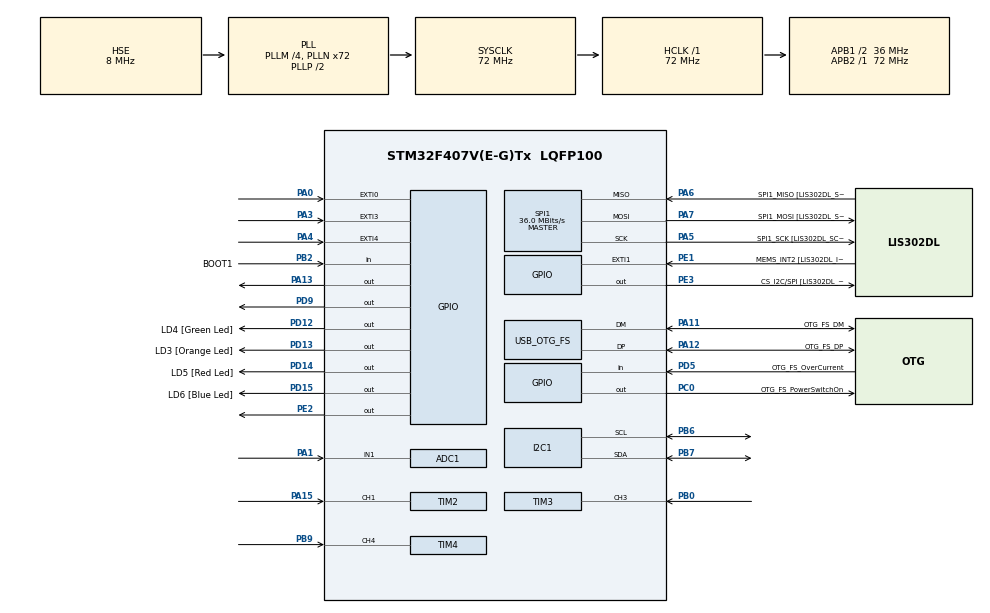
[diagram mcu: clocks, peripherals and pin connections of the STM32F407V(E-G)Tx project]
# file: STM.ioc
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ADC1.Channel-10\#ChannelRegularConversion=ADC_CHANNEL_1
ADC1.ContinuousConvMode=ENABLE
ADC1.NbrOfConversionFlag=1
ADC1.Rank-10\#ChannelRegularConversion=1
ADC1.SamplingTime-10\#ChannelRegularConversion=ADC_SAMPLETIME_3CYCLES
ADC1.master=1
Mcu.Family=STM32F4
Mcu.Name=STM32F407V(E-G)Tx
Mcu.Package=LQFP100
NVIC.EXTI0_IRQn=true\:0\:0\:false\:false\:true\:true\:true
NVIC.EXTI3_IRQn=true\:0\:0\:false\:false\:true\:true\:true
NVIC.EXTI4_IRQn=true\:0\:0\:false\:false\:true\:true\:true
NVIC.OTG_FS_IRQn=true\:0\:0\:false\:false\:true\:true\:true
NVIC.PriorityGroup=NVIC_PRIORITYGROUP_0
NVIC.TIM2_IRQn=true\:0\:0\:false\:false\:true\:true\:true
NVIC.TIM3_IRQn=true\:0\:0\:false\:false\:true\:true\:true
NVIC.TIM4_IRQn=true\:0\:0\:false\:false\:true\:true\:true
PA0-WKUP.GPIO_PuPd=GPIO_PULLDOWN
PA0-WKUP.Signal=GPXTI0
PA1.Signal=ADCx_IN1
PA10.GPIO_Label=OTG_FS_ID
PA10.GPIO_Mode=GPIO_MODE_AF_PP
PA10.GPIO_PuPd=GPIO_NOPULL
PA10.GPIO_Speed=GPIO_SPEED_FREQ_LOW
PA10.Signal=USB_OTG_FS_ID
PA11.GPIO_Label=OTG_FS_DM
PA11.GPIO_Mode=GPIO_MODE_AF_PP
PA11.GPIO_PuPd=GPIO_NOPULL
PA11.GPIO_Speed=GPIO_SPEED_FREQ_LOW
PA11.Mode=Host_Only
PA11.Signal=USB_OTG_FS_DM
PA12.GPIO_Label=OTG_FS_DP
PA12.GPIO_Mode=GPIO_MODE_AF_PP
PA12.GPIO_PuPd=GPIO_NOPULL
PA12.GPIO_Speed=GPIO_SPEED_FREQ_LOW
PA12.Mode=Host_Only
PA12.Signal=USB_OTG_FS_DP
PA13.Signal=GPIO_Output
PA14.GPIO_Label=SWCLK
PA14.Signal=SYS_JTCK-SWCLK
PA15.Signal=S_TIM2_CH1_ETR
PA3.GPIO_PuPd=GPIO_PULLDOWN
PA3.Signal=GPXTI3
PA4.GPIO_PuPd=GPIO_PULLDOWN
PA4.Signal=GPXTI4
PA5.GPIO_Label=SPI1_SCK [LIS302DL_SCL/SPC]
PA5.GPIO_Mode=GPIO_MODE_AF_PP
PA5.GPIO_PuPd=GPIO_NOPULL
PA5.GPIO_Speed=GPIO_SPEED_FREQ_LOW
PA5.Mode=Full_Duplex_Master
PA5.Signal=SPI1_SCK
PA6.GPIO_Label=SPI1_MISO [LIS302DL_SDO]
PA6.GPIO_Mode=GPIO_MODE_AF_PP
PA6.GPIO_PuPd=GPIO_NOPULL
PA6.GPIO_Speed=GPIO_SPEED_FREQ_LOW
PA6.Mode=Full_Duplex_Master
PA6.Signal=SPI1_MISO
PA7.GPIO_Label=SPI1_MOSI [LIS302DL_SDA/SDI/SDO]
PA7.GPIO_Mode=GPIO_MODE_AF_PP
PA7.GPIO_PuPd=GPIO_NOPULL
PA7.GPIO_Speed=GPIO_SPEED_FREQ_LOW
PA7.Mode=Full_Duplex_Master
PA7.Signal=SPI1_MOSI
PA9.Signal=S_TIM1_CH2
PB0.Signal=S_TIM3_CH3
PB10.GPIO_Label=CLK_IN [MP45DT02_CLK]
PB10.GPIO_Mode=GPIO_MODE_AF_PP
PB10.GPIO_PuPd=GPIO_NOPULL
PB10.GPIO_Speed=GPIO_SPEED_FREQ_LOW
PB10.Signal=I2S2_CK
PB15.Signal=TIM1_CH3N
PB2.GPIO_Label=BOOT1
PB2.GPIO_Mode=GPIO_MODE_INPUT
PB2.GPIO_PuPd=GPIO_NOPULL
PB2.Signal=GPIO_Input
PB6.Mode=I2C
PB6.Signal=I2C1_SCL
PB7.Mode=I2C
PB7.Signal=I2C1_SDA
PB9.Signal=S_TIM4_CH4
PC0.GPIO_Label=OTG_FS_PowerSwitchOn
PC0.GPIO_PuPd=GPIO_NOPULL
PC0.GPIO_Speed=GPIO_SPEED_FREQ_LOW
PC0.PinState=GPIO_PIN_SET
PC0.Signal=GPIO_Output
PC10.GPIO_Label=I2S3_SCK [CS43L22_SCLK]
PC10.GPIO_Mode=GPIO_MODE_AF_PP
PC10.GPIO_PuPd=GPIO_NOPULL
PC10.GPIO_Speed=GPIO_SPEED_FREQ_LOW
PC10.Signal=I2S3_CK
PC12.GPIO_Label=I2S3_SD [CS43L22_SDIN]
PC12.GPIO_Mode=GPIO_MODE_AF_PP
PC12.GPIO_PuPd=GPIO_NOPULL
PC12.GPIO_Speed=GPIO_SPEED_FREQ_LOW
PC12.Signal=I2S3_SD
PC14-OSC32_IN.GPIO_Label=PC14-OSC32_IN
PC14-OSC32_IN.Mode=LSE-External-Oscillator
PC14-OSC32_IN.Signal=RCC_OSC32_IN
PC15-OSC32_OUT.GPIO_Label=PC15-OSC32_OUT
PC15-OSC32_OUT.Mode=LSE-External-Oscillator
PC15-OSC32_OUT.Signal=RCC_OSC32_OUT
PC3.GPIO_Label=PDM_OUT [MP45DT02_DOUT]
PC3.GPIO_Mode=GPIO_MODE_AF_PP
PC3.GPIO_PuPd=GPIO_NOPULL
PC3.GPIO_Speed=GPIO_SPEED_FREQ_LOW
PC3.Signal=I2S2_SD
PC7.GPIO_Label=I2S3_MCK [CS43L22_MCLK]
PC7.GPIO_Mode=GPIO_MODE_AF_PP
PC7.GPIO_PuPd=GPIO_NOPULL
PC7.GPIO_Speed=GPIO_SPEED_FREQ_LOW
PC7.Signal=I2S3_MCK
PC9.Signal=S_TIM3_CH4
PD12.GPIO_Label=LD4 [Green Led]
PD12.GPIO_PuPd=GPIO_NOPULL
PD12.GPIO_Speed=GPIO_SPEED_FREQ_LOW
PD12.Signal=GPIO_Output
PD13.GPIO_Label=LD3 [Orange Led]
PD13.GPIO_PuPd=GPIO_NOPULL
PD13.GPIO_Speed=GPIO_SPEED_FREQ_LOW
PD13.Signal=GPIO_Output
PD14.GPIO_Label=LD5 [Red Led]
PD14.GPIO_PuPd=GPIO_NOPULL
PD14.GPIO_Speed=GPIO_SPEED_FREQ_LOW
PD14.Signal=GPIO_Output
PD15.GPIO_Label=LD6 [Blue Led]
PD15.GPIO_PuPd=GPIO_NOPULL
PD15.GPIO_Speed=GPIO_SPEED_FREQ_LOW
PD15.Signal=GPIO_Output
PD5.GPIO_Label=OTG_FS_OverCurrent
PD5.GPIO_Mode=GPIO_MODE_INPUT
PD5.GPIO_PuPd=GPIO_NOPULL
PD5.Signal=GPIO_Input
PD9.Signal=GPIO_Output
PE1.GPIO_Label=MEMS_INT2 [LIS302DL_INT2]
PE1.GPIO_ModeDefaultEXTI=GPIO_MODE_EVT_RISING
PE1.GPIO_PuPd=GPIO_NOPULL
PE1.Signal=GPXTI1
PE2.Signal=GPIO_Output
PE3.GPIO_Label=CS_I2C/SPI [LIS302DL_CS_I2C/SPI]
PE3.GPIO_PuPd=GPIO_NOPULL
PE3.GPIO_Speed=GPIO_SPEED_FREQ_LOW
PE3.Signal=GPIO_Output
PH0-OSC_IN.GPIO_Label=PH0-OSC_IN
PH0-OSC_IN.Mode=HSE-External-Oscillator
PH0-OSC_IN.Signal=RCC_OSC_IN
PH1-OSC_OUT.GPIO_Label=PH1-OSC_OUT
PH1-OSC_OUT.Mode=HSE-External-Oscillator
PH1-OSC_OUT.Signal=RCC_OSC_OUT
ProjectManager.HeapSize=0x200
ProjectManager.StackSize=0x400
ProjectManager.TargetToolchain=STM32CubeIDE
RCC.48MHZClocksFreq_Value=48000000
RCC.AHBFreq_Value=72000000
RCC.APB1CLKDivider=RCC_HCLK_DIV2
RCC.APB1Freq_Value=36000000
RCC.APB1TimFreq_Value=72000000
RCC.APB2Freq_Value=72000000
RCC.APB2TimFreq_Value=72000000
RCC.CortexFreq_Value=72000000
RCC.HCLKFreq_Value=72000000
RCC.HSE_VALUE=8000000
RCC.HSI_VALUE=16000000
RCC.PLLM=4
RCC.PLLN=72
RCC.PLLQ=3
RCC.SYSCLKFreq_VALUE=72000000
RCC.SYSCLKSource=RCC_SYSCLKSOURCE_PLLCLK
RCC.VCOOutputFreq_Value=144000000
SH.ADCx_IN1.0=ADC1_IN1,IN1
SH.S_TIM1_CH2.0=TIM1_CH2
SH.S_TIM2_CH1_ETR.0=TIM2_CH1,Input_Capture1_from_TI1
SH.S_TIM3_CH3.0=TIM3_CH3,Input_Capture3_from_TI3
SH.S_TIM3_CH4.0=TIM3_CH4
SH.S_TIM4_CH4.0=TIM4_CH4,Input_Capture4_from_TI4
SPI1.BaudRatePrescaler=SPI_BAUDRATEPRESCALER_2
SPI1.BaudRatePrescaler-Full_Duplex_Master=SPI_BAUDRATEPRESCALER_2
SPI1.CalculateBaudRate=36.0 MBits/s
SPI1.CalculateBaudRate-Full_Duplex_Master=42.0 MBits/s
SPI1.Direction=SPI_DIRECTION_2LINES
SPI1.Mode=SPI_MODE_MASTER
SPI1.Mode-Full_Duplex_Master=SPI_MODE_MASTER
SPI1.VirtualType=VM_MASTER
TIM2.Channel-Input_Capture1_from_TI1=TIM_CHANNEL_1
TIM2.Period=65535
TIM2.Prescaler=71
TIM3.Channel-Input_Capture3_from_TI3=TIM_CHANNEL_3
TIM3.Period=10000
TIM3.Prescaler=7199
TIM4.Channel-Input_Capture4_from_TI4=TIM_CHANNEL_4
TIM4.Period=10000
TIM4.Prescaler=7199
USB_HOST.BSP.number=1
USB_HOST.USBH_HandleTypeDef-CDC_FS=hUsbHostFS
USB_HOST.VirtualModeFS=Cdc
USB_HOST0.BSP.STBoard=false
USB_HOST0.BSP.api=Unknown
USB_HOST0.BSP.i2caddr=0
USB_HOST0.BSP.i2creg=0
USB_HOST0.BSP.instance=PC0
USB_HOST0.BSP.ip=GPIO
USB_HOST0.BSP.mode=Output
USB_HOST0.BSP.name=Drive_VBUS_FS
USB_HOST0.BSP.solution=PC0
USB_OTG_FS.VirtualMode=Host_Only
USB_OTG_FS.phy_itface=HCD_PHY_EMBEDDED
VP_TIM2_VS_ClockSourceINT.Mode=Internal
VP_TIM3_VS_ClockSourceINT.Mode=Internal
VP_USB_HOST_VS_USB_HOST_CDC_FS.Mode=CDC_FS
board=STM32F407G-DISC1

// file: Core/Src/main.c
/* USER CODE BEGIN Header */
/**
  ******************************************************************************
  * @file           : main.c
  * @brief          : Main program body
  ******************************************************************************
  * @attention
  *
  * <h2><center>&copy; Copyright (c) 2022 STMicroelectronics.
  * All rights reserved.</center></h2>
  *
  * This software component is licensed by ST under Ultimate Liberty license
  * SLA0044, the "License"; You may not use this file except in compliance with
  * the License. You may obtain a copy of the License at:
  *                             www.st.com/SLA0044
  *
  ******************************************************************************
  */
/* USER CODE END Header */
#include "main.h"
#include "usb_host.h"

/* USER CODE BEGIN Includes */

#include "i2c-lcd.h"
#include "T_Sensor.h"
#include "Ultrasound.h"
#include "stdio.h"
#include "stdlib.h"

/* USER CODE END Includes */

ADC_HandleTypeDef hadc1;

I2C_HandleTypeDef hi2c1;

SPI_HandleTypeDef hspi1;

TIM_HandleTypeDef htim2;
TIM_HandleTypeDef htim3;
TIM_HandleTypeDef htim4;

void SystemClock_Config(void);
static void MX_GPIO_Init(void);
static void MX_I2C1_Init(void);
static void MX_SPI1_Init(void);
static void MX_ADC1_Init(void);
static void MX_TIM3_Init(void);
static void MX_TIM4_Init(void);
static void MX_TIM2_Init(void);
void MX_USB_HOST_Process(void);

/* USER CODE BEGIN 0 */

int pState = 1, cState = 3, vaciado = 0, t_vaciado = 10, aux1 = 0;	// Estados y variables auxiliares
volatile int interrupt = 0;

volatile int refresh = 0;		// Refresh de la pantalla y sus datos

uint32_t ctime = 0, ptime = 0;	// Mediciones de tiempo
char pantalla[16];		// Para impresiones por pantalla

uint8_t RHI, RHD, TCI, TCD, SUM;	// Medidas de temperatura y humedad (DHT11)
float Temp = 0, RH = 0;

uint16_t AD_RES = 0, Vamb, DC_Multiplier, Lumen, Lmin=3200, Lmax=3600, Ldisplay;	// Medidas LDR

uint32_t echo1, echo2, period = 0;			// Medidas del ultrasonidos
float dist, Volume, d1, d2, d3, dmed;
int Vs = 0, cd = 1;

// Indicador de interrupcion

void HAL_GPIO_EXTI_Callback(uint16_t GPIO_Pin){
	ctime = HAL_GetTick();
	if (GPIO_Pin==GPIO_PIN_0 ) interrupt = 1;
	else if (GPIO_Pin==GPIO_PIN_3 ) interrupt = 2;
	else if (GPIO_Pin==GPIO_PIN_4 ) interrupt = 3;
}

// Debouncer

int debouncer(volatile int* interrupt, GPIO_TypeDef* GPIO_port, uint16_t GPIO_number){
	static uint8_t button_count=0;
	static int counter=0;

	if (*interrupt != 0){
		if (button_count == 0) {
			counter=HAL_GetTick();
			button_count++;
		}
		if (HAL_GetTick()-counter>=10){
			counter=HAL_GetTick();
			if (HAL_GPIO_ReadPin(GPIO_port, GPIO_number) != 1){
				button_count=1;
			}
			else{
				button_count++;
			}
			if (button_count == 3){ //Periodo antirebotes
				button_count = 0;
				return 1;
			}
		}
	}
	return 0;
}

// Funcion de interrupcion del ultrasonidos

void HAL_TIM_IC_CaptureCallback(TIM_HandleTypeDef *htim)
{

	if (htim->Channel == HAL_TIM_ACTIVE_CHANNEL_1)  // if the interrupt source is channel 1
		{
		if (Vs == 0){ // if the first value is not captured

			echo1 = HAL_TIM_ReadCapturedValue(htim, TIM_CHANNEL_1); // read the first value
			Vs = 1;  // set the first captured as true
			// Now change the polarity to falling edge
			__HAL_TIM_SET_CAPTUREPOLARITY(htim, TIM_CHANNEL_1, TIM_INPUTCHANNELPOLARITY_FALLING);
		}

		else if (Vs == 1){   // if the first is already captured

			echo2 = HAL_TIM_ReadCapturedValue(htim, TIM_CHANNEL_1);  // read second value
			__HAL_TIM_SET_COUNTER(htim, 0);  // reset the counter

			if (echo2 > echo1){
				period = echo2 - echo1;
			}
			else if (echo1 > echo2){
				period = (0xffff - echo1) + echo2;
			}

			Vs = 0; // set it back to false

			// set polarity to rising edge
			__HAL_TIM_SET_CAPTUREPOLARITY(htim, TIM_CHANNEL_1, TIM_INPUTCHANNELPOLARITY_RISING);
		}
	}
}

	// Refresh de la pantalla y callback para vaciado

void HAL_TIM_PeriodElapsedCallback(TIM_HandleTypeDef* htim){
	if (htim == &htim3) refresh = 1;
	if (htim == &htim4){
		vaciado++;
		if (vaciado == t_vaciado){
			HAL_TIM_Base_Stop_IT(&htim4);
			vaciado = 0;
			cState = 0;
		}
	}
}

/* Function Delay ---------------------------------------------------------------*/
/*
void microDelay (uint16_t delay){
  __HAL_TIM_SET_COUNTER(&htim1, 0);
  while (__HAL_TIM_GET_COUNTER(&htim1) < delay);
}
*/

/* USER CODE END 0 */

int main(void)
{

  /* MCU Configuration--------------------------------------------------------*/

  /* Reset of all peripherals, Initializes the Flash interface and the Systick. */
  HAL_Init();

  /* Configure the system clock */
  SystemClock_Config();

  /* Initialize all configured peripherals */
  MX_GPIO_Init();
  MX_I2C1_Init();
  MX_SPI1_Init();
  MX_USB_HOST_Init();
  MX_ADC1_Init();
  MX_TIM2_Init();
  MX_TIM3_Init();
  MX_TIM4_Init();
  /* USER CODE BEGIN 2 */

  // EL microcontrolador resetea el pull a NOPULL cuando se reinicia el proyecto
  // Aquí se fuerza el modo PULLDOWN de los pines de interrupcion, ya que si entran en Z
  // a veces generan conflicto en las variables que modifican
  GPIO_InitTypeDef GPIO_InitStruct = {0};
  GPIO_InitStruct.Pin = GPIO_PIN_0|GPIO_PIN_3|GPIO_PIN_4;
  GPIO_InitStruct.Mode = GPIO_MODE_IT_RISING;
  GPIO_InitStruct.Pull = GPIO_PULLDOWN;
  HAL_GPIO_Init(GPIOA, &GPIO_InitStruct);

  lcd_init();
  lcd_put_cur(0,0);
  lcd_send_string("Test");
  lcd_clear();
  HAL_ADC_Start(&hadc1);
  HAL_TIM_Base_Start_IT(&htim3);
  HAL_ADC_Start(&hadc1);
  HAL_ADC_PollForConversion(&hadc1, 1);

  /* USER CODE END 2 */

  /* Infinite loop */
  /* USER CODE BEGIN WHILE */
  while (1)
  {

	  // Lectura y ajuste del LDR
      HAL_ADC_Start(&hadc1);
      HAL_ADC_PollForConversion(&hadc1, 1);
      Lumen = HAL_ADC_GetValue(&hadc1);
      if (Lumen > Lmax) Lmax = Lumen;
      if (Lumen < Lmin && Lumen > 3000) Lmin = Lumen;
      else if (Lumen < 3000) Lumen = 3050;

	  // Lectura del ultrasonidos

      HAL_GPIO_WritePin(GPIOA, GPIO_PIN_13, 1);
      HAL_Delay(10);
      HAL_GPIO_WritePin(GPIOA, GPIO_PIN_13, 0);

      HAL_TIM_IC_Start_IT(&htim2, TIM_CHANNEL_1);

      dist = period/58;

	  switch (cd){
	  	  case 1:
	  		  d1 = dist;
	  		  cd = 2;
	  		  break;
	  	  case 2:
	  		  d2 = dist;
	  		  cd = 3;
	  		  break;
	  	  case 3:
	  		  d3 = dist;
	  		  cd = 1;
	  		  break;
	  }
	  dmed = (d1 + d2 + d3)/3;
	  if (dmed > 100) cState = 5;
	  Volume = dmed * 3.1415 * 1; //Altura del liquido * pi * radio(1)

	  // Lectura de la temperatura y humedad
/*
	  if(DHT11_Start()){
	        RHI = DHT11_Read(); // Relative humidity integral
	        RHD = DHT11_Read(); // Relative humidity decimal
	        TCI = DHT11_Read(); // Celsius integral
	        TCD = DHT11_Read(); // Celsius decimal
	        SUM = DHT11_Read(); // Check sum
	        if (RHI + RHD + TCI + TCD == SUM){
	          Temp = (float)TCI + (float)(TCD/10.0);
	          RH = (float)RHI + (float)(RHD/10.0);
	        }
	   }
*/

	  // Control de los estados

	  if (interrupt == 1){
		  if(debouncer(&interrupt, GPIOA, GPIO_PIN_0)){
			  if (cState == 0){					// Inicio -> Temp
			  	  		pState = cState;
			  	  		cState = 1;
			  	  		ptime = ctime;
			  	  		interrupt = 0;
		  	  }
		  }
	  }

	  if (interrupt == 2){
		  if(debouncer(&interrupt, GPIOA, GPIO_PIN_3)){
			   if(cState == 1){					// Temp -> Humedad
			  	  	pState = cState;
			  	  	cState = 2;
			  	  	ptime = ctime;
			  	  	interrupt = 0;
			   }
			   else if (cState == 2){			// Humedad -> Volumen
			  	  	pState = cState;
			  	  	cState = 3;
			  	  	ptime = ctime;
			  	  	interrupt = 0;
			   }
			   else if(cState == 3){			// Volumen -> Lumin
			  	  	pState = cState;
			  	  	cState = 4;
			  	  	ptime = ctime;
			  	  	interrupt = 0;
			   }
			   else if(cState == 4 ){			// Lumin -> Temp
			  	  	pState = cState;
			  	  	cState =1;
			  	  	ptime = ctime;
			  	  	interrupt = 0;
			   }
		  }
	  }
	  if (interrupt == 3){
		   if(debouncer(&interrupt, GPIOA, GPIO_PIN_4)){

			  	  if (cState == 5){				// Alerta -> Vaciado
			  	  		pState = cState;
			  	  		cState = 6;
			  	  		ptime = ctime;
  	  					interrupt = 0;
			  	  		HAL_TIM_Base_Start_IT(&htim4);
		  		  	  }
			  	  else if (cState != 6){		// Vaciado -> Inicio
			  		  	pState = cState;
			  		    cState = 5;
			  			ptime = ctime;
			  			interrupt = 0;
		  		  }
		   }
	  }

	  // Salida por pantalla
	  if (HAL_GetTick() - ctime > 500) refresh = 1;

	  if (pState != cState || refresh != 0){
		  if (pState != cState){
			  lcd_clear();
			  pState = cState;
		  }
		  if (cState == 5 || cState == 6) HAL_GPIO_TogglePin(GPIOE, GPIO_PIN_2);

		  refresh = 0;
		  ctime = HAL_GetTick();
		  HAL_GPIO_TogglePin(GPIOD, GPIO_PIN_12);

		  if (cState == 0){
			  HAL_GPIO_WritePin(GPIOE, GPIO_PIN_2, GPIO_PIN_RESET);
			  lcd_put_cur(0,0);
			  lcd_send_string("Planta sin");
			  lcd_put_cur(1,0);
			  lcd_send_string("inicializar");
		  }
		  else if (cState == 1){
			  lcd_put_cur(0,0);
			  lcd_send_string("Temperatura:");
			  lcd_put_cur(1,0);
			  lcd_send_string("            ");
			  lcd_put_cur(1,0);
			  itoa(Temp, pantalla, 10);
			  lcd_send_string(pantalla);
			  lcd_send_string(" C");
		  }
		  else if (cState == 2){
			  lcd_put_cur(0,0);
			  lcd_send_string("Humedad:");
			  lcd_put_cur(1,0);
			  lcd_send_string("            ");
			  lcd_put_cur(1,0);
			  itoa(RH, pantalla, 10);
			  lcd_send_string(pantalla);
			  lcd_send_string(" %");
		  }
		  else if(cState == 3){
			  lcd_put_cur(0,0);
			  lcd_send_string("Volumen:");
			  lcd_put_cur(1,0);
			  lcd_send_string("            ");
			  lcd_put_cur(1,0);
			  itoa(Volume, pantalla, 10);
			  lcd_send_string(pantalla);
			  lcd_send_string(" cm3");
		  }
		  else if(cState == 4){
			  lcd_put_cur(0,0);
			  lcd_send_string("Luminosidad:");
			  lcd_put_cur(1,0);
			  lcd_send_string("            ");
			  lcd_put_cur(1,0);
			  Ldisplay = (((Lumen-Lmin)*20)/(Lmax-Lmin))*5;
			  itoa(Ldisplay, pantalla, 10);
			  lcd_send_string(pantalla);
			  lcd_send_string(" %");

		  }
		  else if (cState == 5){
			  lcd_put_cur(0,0);
			  lcd_send_string("Vaciado");
			  lcd_put_cur(1,0);
			  lcd_send_string("necesario");
		  }
		  else if (cState == 6){
			  lcd_put_cur(0,0);
			  lcd_send_string("Vaciando");
			  lcd_put_cur(1,0);
			  lcd_send_string("tanque");
		  }
	  }

	  // Testing DHT11
	  if (Temp != 0) HAL_GPIO_WritePin(GPIOD, GPIO_PIN_15, GPIO_PIN_SET);
	  if (RH != 0) HAL_GPIO_WritePin(GPIOD, GPIO_PIN_13, GPIO_PIN_SET);

   }// Fin bucle

    /* USER CODE END WHILE */
    MX_USB_HOST_Process();

}

void SystemClock_Config(void)
{
  RCC_OscInitTypeDef RCC_OscInitStruct = {0};
  RCC_ClkInitTypeDef RCC_ClkInitStruct = {0};

  /** Configure the main internal regulator output voltage
  */
  __HAL_RCC_PWR_CLK_ENABLE();
  __HAL_PWR_VOLTAGESCALING_CONFIG(PWR_REGULATOR_VOLTAGE_SCALE1);
  /** Initializes the RCC Oscillators according to the specified parameters
  * in the RCC_OscInitTypeDef structure.
  */
  RCC_OscInitStruct.OscillatorType = RCC_OSCILLATORTYPE_HSE;
  RCC_OscInitStruct.HSEState = RCC_HSE_ON;
  RCC_OscInitStruct.PLL.PLLState = RCC_PLL_ON;
  RCC_OscInitStruct.PLL.PLLSource = RCC_PLLSOURCE_HSE;
  RCC_OscInitStruct.PLL.PLLM = 4;
  RCC_OscInitStruct.PLL.PLLN = 72;
  RCC_OscInitStruct.PLL.PLLP = RCC_PLLP_DIV2;
  RCC_OscInitStruct.PLL.PLLQ = 3;
  if (HAL_RCC_OscConfig(&RCC_OscInitStruct) != HAL_OK)
  {
    Error_Handler();
  }
  /** Initializes the CPU, AHB and APB buses clocks
  */
  RCC_ClkInitStruct.ClockType = RCC_CLOCKTYPE_HCLK|RCC_CLOCKTYPE_SYSCLK
                              |RCC_CLOCKTYPE_PCLK1|RCC_CLOCKTYPE_PCLK2;
  RCC_ClkInitStruct.SYSCLKSource = RCC_SYSCLKSOURCE_PLLCLK;
  RCC_ClkInitStruct.AHBCLKDivider = RCC_SYSCLK_DIV1;
  RCC_ClkInitStruct.APB1CLKDivider = RCC_HCLK_DIV2;
  RCC_ClkInitStruct.APB2CLKDivider = RCC_HCLK_DIV1;

  if (HAL_RCC_ClockConfig(&RCC_ClkInitStruct, FLASH_LATENCY_2) != HAL_OK)
  {
    Error_Handler();
  }
}

static void MX_ADC1_Init(void)
{

  ADC_ChannelConfTypeDef sConfig = {0};

  /** Configure the global features of the ADC (Clock, Resolution, Data Alignment and number of conversion)
  */
  hadc1.Instance = ADC1;
  hadc1.Init.ClockPrescaler = ADC_CLOCK_SYNC_PCLK_DIV2;
  hadc1.Init.Resolution = ADC_RESOLUTION_12B;
  hadc1.Init.ScanConvMode = DISABLE;
  hadc1.Init.ContinuousConvMode = ENABLE;
  hadc1.Init.DiscontinuousConvMode = DISABLE;
  hadc1.Init.ExternalTrigConvEdge = ADC_EXTERNALTRIGCONVEDGE_NONE;
  hadc1.Init.ExternalTrigConv = ADC_SOFTWARE_START;
  hadc1.Init.DataAlign = ADC_DATAALIGN_RIGHT;
  hadc1.Init.NbrOfConversion = 1;
  hadc1.Init.DMAContinuousRequests = DISABLE;
  hadc1.Init.EOCSelection = ADC_EOC_SINGLE_CONV;
  if (HAL_ADC_Init(&hadc1) != HAL_OK)
  {
    Error_Handler();
  }
  /** Configure for the selected ADC regular channel its corresponding rank in the sequencer and its sample time.
  */
  sConfig.Channel = ADC_CHANNEL_1;
  sConfig.Rank = 1;
  sConfig.SamplingTime = ADC_SAMPLETIME_3CYCLES;
  if (HAL_ADC_ConfigChannel(&hadc1, &sConfig) != HAL_OK)
  {
    Error_Handler();
  }

}

static void MX_I2C1_Init(void)
{

  hi2c1.Instance = I2C1;
  hi2c1.Init.ClockSpeed = 100000;
  hi2c1.Init.DutyCycle = I2C_DUTYCYCLE_2;
  hi2c1.Init.OwnAddress1 = 0;
  hi2c1.Init.AddressingMode = I2C_ADDRESSINGMODE_7BIT;
  hi2c1.Init.DualAddressMode = I2C_DUALADDRESS_DISABLE;
  hi2c1.Init.OwnAddress2 = 0;
  hi2c1.Init.GeneralCallMode = I2C_GENERALCALL_DISABLE;
  hi2c1.Init.NoStretchMode = I2C_NOSTRETCH_DISABLE;
  if (HAL_I2C_Init(&hi2c1) != HAL_OK)
  {
    Error_Handler();
  }

}

static void MX_SPI1_Init(void)
{

  /* SPI1 parameter configuration*/
  hspi1.Instance = SPI1;
  hspi1.Init.Mode = SPI_MODE_MASTER;
  hspi1.Init.Direction = SPI_DIRECTION_2LINES;
  hspi1.Init.DataSize = SPI_DATASIZE_8BIT;
  hspi1.Init.CLKPolarity = SPI_POLARITY_LOW;
  hspi1.Init.CLKPhase = SPI_PHASE_1EDGE;
  hspi1.Init.NSS = SPI_NSS_SOFT;
  hspi1.Init.BaudRatePrescaler = SPI_BAUDRATEPRESCALER_2;
  hspi1.Init.FirstBit = SPI_FIRSTBIT_MSB;
  hspi1.Init.TIMode = SPI_TIMODE_DISABLE;
  hspi1.Init.CRCCalculation = SPI_CRCCALCULATION_DISABLE;
  hspi1.Init.CRCPolynomial = 10;
  if (HAL_SPI_Init(&hspi1) != HAL_OK)
  {
    Error_Handler();
  }

}

static void MX_TIM2_Init(void)
{

  TIM_ClockConfigTypeDef sClockSourceConfig = {0};
  TIM_MasterConfigTypeDef sMasterConfig = {0};
  TIM_IC_InitTypeDef sConfigIC = {0};

  htim2.Instance = TIM2;
  htim2.Init.Prescaler = 71;
  htim2.Init.CounterMode = TIM_COUNTERMODE_UP;
  htim2.Init.Period = 65535;
  htim2.Init.ClockDivision = TIM_CLOCKDIVISION_DIV1;
  htim2.Init.AutoReloadPreload = TIM_AUTORELOAD_PRELOAD_DISABLE;
  if (HAL_TIM_Base_Init(&htim2) != HAL_OK)
  {
    Error_Handler();
  }
  sClockSourceConfig.ClockSource = TIM_CLOCKSOURCE_INTERNAL;
  if (HAL_TIM_ConfigClockSource(&htim2, &sClockSourceConfig) != HAL_OK)
  {
    Error_Handler();
  }
  if (HAL_TIM_IC_Init(&htim2) != HAL_OK)
  {
    Error_Handler();
  }
  sMasterConfig.MasterOutputTrigger = TIM_TRGO_RESET;
  sMasterConfig.MasterSlaveMode = TIM_MASTERSLAVEMODE_DISABLE;
  if (HAL_TIMEx_MasterConfigSynchronization(&htim2, &sMasterConfig) != HAL_OK)
  {
    Error_Handler();
  }
  sConfigIC.ICPolarity = TIM_INPUTCHANNELPOLARITY_RISING;
  sConfigIC.ICSelection = TIM_ICSELECTION_DIRECTTI;
  sConfigIC.ICPrescaler = TIM_ICPSC_DIV1;
  sConfigIC.ICFilter = 0;
  if (HAL_TIM_IC_ConfigChannel(&htim2, &sConfigIC, TIM_CHANNEL_1) != HAL_OK)
  {
    Error_Handler();
  }

}

static void MX_TIM3_Init(void)
{

  TIM_ClockConfigTypeDef sClockSourceConfig = {0};
  TIM_MasterConfigTypeDef sMasterConfig = {0};
  TIM_IC_InitTypeDef sConfigIC = {0};

  htim3.Instance = TIM3;
  htim3.Init.Prescaler = 7199;
  htim3.Init.CounterMode = TIM_COUNTERMODE_UP;
  htim3.Init.Period = 10000;
  htim3.Init.ClockDivision = TIM_CLOCKDIVISION_DIV1;
  htim3.Init.AutoReloadPreload = TIM_AUTORELOAD_PRELOAD_DISABLE;
  if (HAL_TIM_Base_Init(&htim3) != HAL_OK)
  {
    Error_Handler();
  }
  sClockSourceConfig.ClockSource = TIM_CLOCKSOURCE_INTERNAL;
  if (HAL_TIM_ConfigClockSource(&htim3, &sClockSourceConfig) != HAL_OK)
  {
    Error_Handler();
  }
  if (HAL_TIM_IC_Init(&htim3) != HAL_OK)
  {
    Error_Handler();
  }
  sMasterConfig.MasterOutputTrigger = TIM_TRGO_RESET;
  sMasterConfig.MasterSlaveMode = TIM_MASTERSLAVEMODE_DISABLE;
  if (HAL_TIMEx_MasterConfigSynchronization(&htim3, &sMasterConfig) != HAL_OK)
  {
    Error_Handler();
  }
  sConfigIC.ICPolarity = TIM_INPUTCHANNELPOLARITY_RISING;
  sConfigIC.ICSelection = TIM_ICSELECTION_DIRECTTI;
  sConfigIC.ICPrescaler = TIM_ICPSC_DIV1;
  sConfigIC.ICFilter = 0;
  if (HAL_TIM_IC_ConfigChannel(&htim3, &sConfigIC, TIM_CHANNEL_3) != HAL_OK)
  {
    Error_Handler();
  }

}

static void MX_TIM4_Init(void)
{

  TIM_MasterConfigTypeDef sMasterConfig = {0};
  TIM_IC_InitTypeDef sConfigIC = {0};

  htim4.Instance = TIM4;
  htim4.Init.Prescaler = 7199;
  htim4.Init.CounterMode = TIM_COUNTERMODE_UP;
  htim4.Init.Period = 10000;
  htim4.Init.ClockDivision = TIM_CLOCKDIVISION_DIV1;
  htim4.Init.AutoReloadPreload = TIM_AUTORELOAD_PRELOAD_DISABLE;
  if (HAL_TIM_IC_Init(&htim4) != HAL_OK)
  {
    Error_Handler();
  }
  sMasterConfig.MasterOutputTrigger = TIM_TRGO_RESET;
  sMasterConfig.MasterSlaveMode = TIM_MASTERSLAVEMODE_DISABLE;
  if (HAL_TIMEx_MasterConfigSynchronization(&htim4, &sMasterConfig) != HAL_OK)
  {
    Error_Handler();
  }
  sConfigIC.ICPolarity = TIM_INPUTCHANNELPOLARITY_RISING;
  sConfigIC.ICSelection = TIM_ICSELECTION_DIRECTTI;
  sConfigIC.ICPrescaler = TIM_ICPSC_DIV1;
  sConfigIC.ICFilter = 0;
  if (HAL_TIM_IC_ConfigChannel(&htim4, &sConfigIC, TIM_CHANNEL_4) != HAL_OK)
  {
    Error_Handler();
  }

}

static void MX_GPIO_Init(void)
{
  GPIO_InitTypeDef GPIO_InitStruct = {0};

  /* GPIO Ports Clock Enable */
  __HAL_RCC_GPIOE_CLK_ENABLE();
  __HAL_RCC_GPIOC_CLK_ENABLE();
  __HAL_RCC_GPIOH_CLK_ENABLE();
  __HAL_RCC_GPIOA_CLK_ENABLE();
  __HAL_RCC_GPIOB_CLK_ENABLE();
  __HAL_RCC_GPIOD_CLK_ENABLE();

  /*Configure GPIO pin Output Level */
  HAL_GPIO_WritePin(GPIOE, GPIO_PIN_2|CS_I2C_SPI_Pin, GPIO_PIN_RESET);

  /*Configure GPIO pin Output Level */
  HAL_GPIO_WritePin(OTG_FS_PowerSwitchOn_GPIO_Port, OTG_FS_PowerSwitchOn_Pin, GPIO_PIN_SET);

  /*Configure GPIO pin Output Level */
  HAL_GPIO_WritePin(GPIOD, GPIO_PIN_9|LD4_Pin|LD3_Pin|LD5_Pin
                          |LD6_Pin, GPIO_PIN_RESET);

  /*Configure GPIO pin Output Level */
  HAL_GPIO_WritePin(GPIOA, GPIO_PIN_13, GPIO_PIN_RESET);

  /*Configure GPIO pins : PE2 CS_I2C_SPI_Pin */
  GPIO_InitStruct.Pin = GPIO_PIN_2|CS_I2C_SPI_Pin;
  GPIO_InitStruct.Mode = GPIO_MODE_OUTPUT_PP;
  GPIO_InitStruct.Pull = GPIO_NOPULL;
  GPIO_InitStruct.Speed = GPIO_SPEED_FREQ_LOW;
  HAL_GPIO_Init(GPIOE, &GPIO_InitStruct);

  /*Configure GPIO pin : OTG_FS_PowerSwitchOn_Pin */
  GPIO_InitStruct.Pin = OTG_FS_PowerSwitchOn_Pin;
  GPIO_InitStruct.Mode = GPIO_MODE_OUTPUT_PP;
  GPIO_InitStruct.Pull = GPIO_NOPULL;
  GPIO_InitStruct.Speed = GPIO_SPEED_FREQ_LOW;
  HAL_GPIO_Init(OTG_FS_PowerSwitchOn_GPIO_Port, &GPIO_InitStruct);

  /*Configure GPIO pin : PDM_OUT_Pin */
  GPIO_InitStruct.Pin = PDM_OUT_Pin;
  GPIO_InitStruct.Mode = GPIO_MODE_AF_PP;
  GPIO_InitStruct.Pull = GPIO_NOPULL;
  GPIO_InitStruct.Speed = GPIO_SPEED_FREQ_LOW;
  GPIO_InitStruct.Alternate = GPIO_AF5_SPI2;
  HAL_GPIO_Init(PDM_OUT_GPIO_Port, &GPIO_InitStruct);

  /*Configure GPIO pins : PA0 PA3 PA4 */
  GPIO_InitStruct.Pin = GPIO_PIN_0|GPIO_PIN_3|GPIO_PIN_4;
  GPIO_InitStruct.Mode = GPIO_MODE_IT_RISING;
  GPIO_InitStruct.Pull = GPIO_PULLDOWN;
  HAL_GPIO_Init(GPIOA, &GPIO_InitStruct);

  /*Configure GPIO pin : BOOT1_Pin */
  GPIO_InitStruct.Pin = BOOT1_Pin;
  GPIO_InitStruct.Mode = GPIO_MODE_INPUT;
  GPIO_InitStruct.Pull = GPIO_NOPULL;
  HAL_GPIO_Init(BOOT1_GPIO_Port, &GPIO_InitStruct);

  /*Configure GPIO pin : CLK_IN_Pin */
  GPIO_InitStruct.Pin = CLK_IN_Pin;
  GPIO_InitStruct.Mode = GPIO_MODE_AF_PP;
  GPIO_InitStruct.Pull = GPIO_NOPULL;
  GPIO_InitStruct.Speed = GPIO_SPEED_FREQ_LOW;
  GPIO_InitStruct.Alternate = GPIO_AF5_SPI2;
  HAL_GPIO_Init(CLK_IN_GPIO_Port, &GPIO_InitStruct);

  /*Configure GPIO pin : PB15 */
  GPIO_InitStruct.Pin = GPIO_PIN_15;
  GPIO_InitStruct.Mode = GPIO_MODE_AF_PP;
  GPIO_InitStruct.Pull = GPIO_NOPULL;
  GPIO_InitStruct.Speed = GPIO_SPEED_FREQ_LOW;
  GPIO_InitStruct.Alternate = GPIO_AF1_TIM1;
  HAL_GPIO_Init(GPIOB, &GPIO_InitStruct);

  /*Configure GPIO pins : PD9 LD4_Pin LD3_Pin LD5_Pin
                           LD6_Pin */
  GPIO_InitStruct.Pin = GPIO_PIN_9|LD4_Pin|LD3_Pin|LD5_Pin
                          |LD6_Pin;
  GPIO_InitStruct.Mode = GPIO_MODE_OUTPUT_PP;
  GPIO_InitStruct.Pull = GPIO_NOPULL;
  GPIO_InitStruct.Speed = GPIO_SPEED_FREQ_LOW;
  HAL_GPIO_Init(GPIOD, &GPIO_InitStruct);

  /*Configure GPIO pins : I2S3_MCK_Pin I2S3_SCK_Pin I2S3_SD_Pin */
  GPIO_InitStruct.Pin = I2S3_MCK_Pin|I2S3_SCK_Pin|I2S3_SD_Pin;
  GPIO_InitStruct.Mode = GPIO_MODE_AF_PP;
  GPIO_InitStruct.Pull = GPIO_NOPULL;
  GPIO_InitStruct.Speed = GPIO_SPEED_FREQ_LOW;
  GPIO_InitStruct.Alternate = GPIO_AF6_SPI3;
  HAL_GPIO_Init(GPIOC, &GPIO_InitStruct);

  /*Configure GPIO pin : PA9 */
  GPIO_InitStruct.Pin = GPIO_PIN_9;
  GPIO_InitStruct.Mode = GPIO_MODE_AF_PP;
  GPIO_InitStruct.Pull = GPIO_NOPULL;
  GPIO_InitStruct.Speed = GPIO_SPEED_FREQ_LOW;
  GPIO_InitStruct.Alternate = GPIO_AF1_TIM1;
  HAL_GPIO_Init(GPIOA, &GPIO_InitStruct);

  /*Configure GPIO pin : PA13 */
  GPIO_InitStruct.Pin = GPIO_PIN_13;
  GPIO_InitStruct.Mode = GPIO_MODE_OUTPUT_PP;
  GPIO_InitStruct.Pull = GPIO_NOPULL;
  GPIO_InitStruct.Speed = GPIO_SPEED_FREQ_LOW;
  HAL_GPIO_Init(GPIOA, &GPIO_InitStruct);

  /*Configure GPIO pin : OTG_FS_OverCurrent_Pin */
  GPIO_InitStruct.Pin = OTG_FS_OverCurrent_Pin;
  GPIO_InitStruct.Mode = GPIO_MODE_INPUT;
  GPIO_InitStruct.Pull = GPIO_NOPULL;
  HAL_GPIO_Init(OTG_FS_OverCurrent_GPIO_Port, &GPIO_InitStruct);

  /*Configure GPIO pin : MEMS_INT2_Pin */
  GPIO_InitStruct.Pin = MEMS_INT2_Pin;
  GPIO_InitStruct.Mode = GPIO_MODE_EVT_RISING;
  GPIO_InitStruct.Pull = GPIO_NOPULL;
  HAL_GPIO_Init(MEMS_INT2_GPIO_Port, &GPIO_InitStruct);

  /* EXTI interrupt init*/
  HAL_NVIC_SetPriority(EXTI0_IRQn, 0, 0);
  HAL_NVIC_EnableIRQ(EXTI0_IRQn);

  HAL_NVIC_SetPriority(EXTI3_IRQn, 0, 0);
  HAL_NVIC_EnableIRQ(EXTI3_IRQn);

  HAL_NVIC_SetPriority(EXTI4_IRQn, 0, 0);
  HAL_NVIC_EnableIRQ(EXTI4_IRQn);

}

void Error_Handler(void)
{
  __disable_irq();
  while (1)
  {
  }
}

/************************ (C) COPYRIGHT STMicroelectronics *****END OF FILE****/
